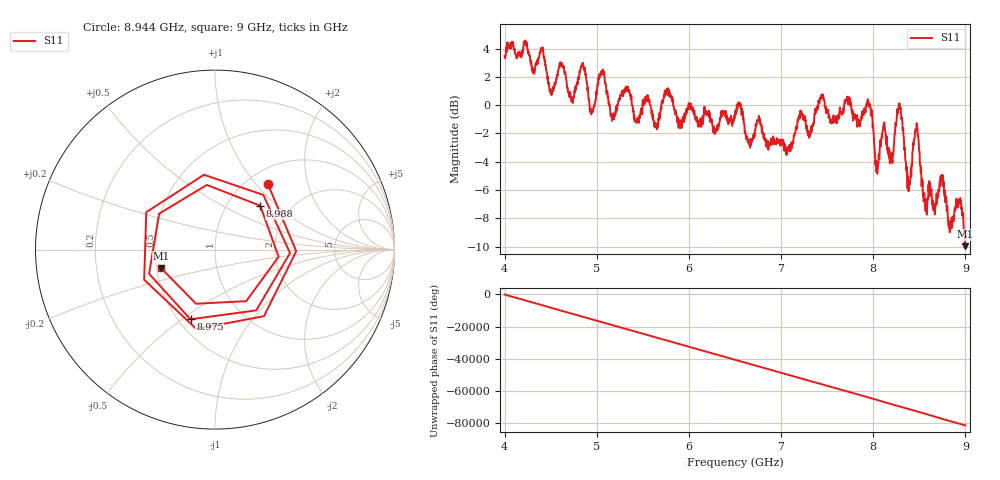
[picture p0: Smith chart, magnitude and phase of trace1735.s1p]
! Created with skrf 1.8.0 (http://scikit-rf.org).
# Hz S RI R 50.0
!freq ReS11 ImS11
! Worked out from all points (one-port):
!   1601 points, 4 GHz to 9 GHz, reference 50 ohm
!   lowest |S11| = -10.0 dB at 9 GHz (marker M1), VSWR 1.93, Z = 26.5 - j6.12 ohm
!   |S11| at or under -10 dB: nowhere
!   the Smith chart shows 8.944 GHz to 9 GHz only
!   S11 on the Smith chart (normalised r, x): 8.944 GHz: 1.23, +1.16; 8.975 GHz: 0.58, -0.54; 8.988 GHz: 1.42, +0.79; 9 GHz: 0.53, -0.12
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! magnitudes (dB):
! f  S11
! 4 GHz  3.5
! 4.406 GHz  4.0
! 4.509 GHz  0.9
! 4.625 GHz  2.9
! 4.728 GHz  0.3
! 4.85 GHz  3.0
! 4.947 GHz  -0.4
! 5.053 GHz  2.4
! 5.169 GHz  -0.9
! 5.25 GHz  0.4
! 5.769 GHz  1.2
! 5.875 GHz  -1.0
! 6.5 GHz  -0.7
! 7.125 GHz  -2.6
! 7.434 GHz  0.5
! 7.75 GHz  0.4
! 7.962 GHz  0.0
! 8.044 GHz  -4.9
! 8.112 GHz  -1.4
! 8.203 GHz  -3.8
! 8.288 GHz  -0.3
! 8.375 GHz  -5.0
! 8.466 GHz  -1.7
! 8.562 GHz  -7.0
! 8.944 GHz  -6.6
! 8.975 GHz  -7.7
! 8.988 GHz  -9.1
! 9 GHz  -10.0
